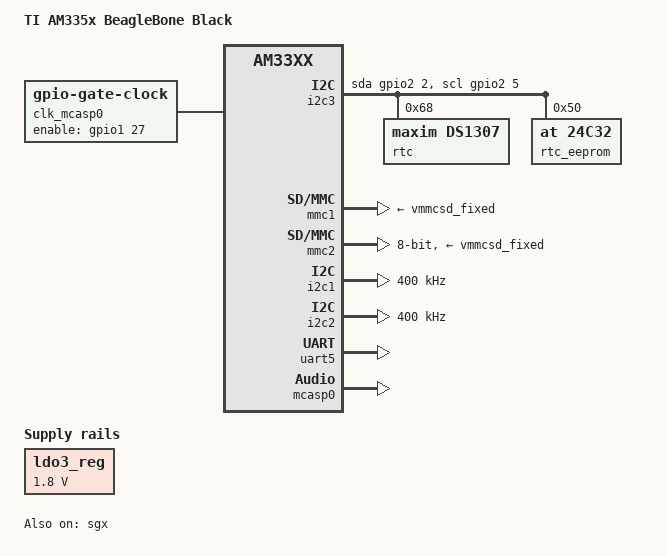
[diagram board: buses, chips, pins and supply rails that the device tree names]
/*
 * Copyright (C) 2012 Texas Instruments Incorporated - http://www.ti.com/
 *
 * This program is free software; you can redistribute it and/or modify
 * it under the terms of the GNU General Public License version 2 as
 * published by the Free Software Foundation.
 */
/dts-v1/;

#include "am33xx.dtsi"
#include "am335x-bone-common-smarthouse.dtsi"
#include "am335x-bone-common-universal-pins.dtsi"
/* #include "am335x-bone-common-universal.dtsi" */

/* #include "am335x-bone-jtag.dtsi" */

/ {
	model = "TI AM335x BeagleBone Black";
	compatible = "ti,am335x-bone-black", "ti,am335x-bone", "ti,am33xx";

	exclusive-use =
                /* the pin header uses */
                "P9.20",        /* i2c2_sda */
                "P9.19",        /* i2c2_scl */
                /* the hardware ip uses */
                "i2c2";
};

&ldo3_reg {
	regulator-min-microvolt = <1800000>;
	regulator-max-microvolt = <1800000>;
	regulator-always-on;
};

&mmc1 {
	vmmc-supply = <&vmmcsd_fixed>;
};

&mmc2 {
	vmmc-supply = <&vmmcsd_fixed>;
	pinctrl-names = "default";
	pinctrl-0 = <&emmc_pins>;
	bus-width = <8>;
	status = "okay";
};

&cpu0_opp_table {
	/*
	 * All PG 2.0 silicon may not support 1GHz but some of the early
	 * BeagleBone Blacks have PG 2.0 silicon which is guaranteed
	 * to support 1GHz OPP so enable it for PG 2.0 on this board.
	 */
	oppnitro@1000000000 {
		opp-supported-hw = <0x06 0x0100>;
	};
};

&am33xx_pinmux {
	mcasp0_pins: mcasp0_pins {
		pinctrl-single,pins = <
			AM33XX_IOPAD(0x9ac, PIN_INPUT_PULLUP | MUX_MODE0) /* mcasp0_ahcklx.mcasp0_ahclkx */
			AM33XX_IOPAD(0x99c, PIN_OUTPUT_PULLDOWN | MUX_MODE2) /* mcasp0_ahclkr.mcasp0_axr2*/
			AM33XX_IOPAD(0x994, PIN_OUTPUT_PULLUP | MUX_MODE0) /* mcasp0_fsx.mcasp0_fsx */
			AM33XX_IOPAD(0x990, PIN_OUTPUT_PULLDOWN | MUX_MODE0) /* mcasp0_aclkx.mcasp0_aclkx */
			AM33XX_IOPAD(0x86c, PIN_OUTPUT_PULLDOWN | MUX_MODE7) /* gpmc_a11.GPIO1_27 */
		>;
	};
};

&i2c1 {
    /* i2c1 is numbered correctly */
    status = "okay";
    clock-frequency = <400000>;
    pinctrl-names = "default";
    pinctrl-0 = <&i2c1_pins>;
};

&i2c2 {
    /* i2c1 is numbered correctly */
    status = "okay";
    clock-frequency = <400000>;
    pinctrl-names = "default";
    pinctrl-0 = <&i2c2_pins>;
};

/ {
        i2c3 {
                compatible = "i2c-gpio";
                gpios = <&gpio2 2 GPIO_ACTIVE_HIGH /* sda */
                         &gpio2 5 GPIO_ACTIVE_HIGH /* scl */
                >;
                i2c-gpio,delay-us = <2>;        /* ~100 kHz */
                #address-cells = <1>;
                #size-cells = <0>;
                pinctrl-names = "default";
                pinctrl-0 = <&i2c3_pins>;
                status = "okay";

                rtc@68 {
                        compatible = "maxim,ds1307";
                        reg = <0x68>;
                };

                rtc_eeprom: rtc_eeprom@50 {
                        compatible = "at,24c32";
                        reg = <0x50>;
                };
        };

    aliases {
		eeprom0 = &cape_eeprom0;
		eeprom1 = &cape_eeprom1;
		eeprom2 = &cape_eeprom2;
		eeprom3 = &cape_eeprom3;
		eeprom4 = &cape_eeprom4;
		eeprom5 = &cape_eeprom5;
		eeprom6 = &cape_eeprom6;
		eeprom7 = &cape_eeprom7;
		eeprom8 = &cape_eeprom8;
	};

};

#include "am335x-bone-pinmux-ttyS5.dtsi"
&uart5 {
    pinctrl-0 = <&uart5_pins>;
    status = "okay";
};

&mcasp0	{
	#sound-dai-cells = <0>;
	pinctrl-names = "default";
	pinctrl-0 = <&mcasp0_pins>;
	status = "okay";
	op-mode = <0>;	/* MCASP_IIS_MODE */
	tdm-slots = <2>;
	serial-dir = <	/* 0: INACTIVE, 1: TX, 2: RX */
			0 0 1 0
		>;
	tx-num-evt = <32>;
	rx-num-evt = <32>;
};

&sgx {
	status = "okay";
};

/ {
	clk_mcasp0_fixed: clk_mcasp0_fixed {
		#clock-cells = <0>;
		compatible = "fixed-clock";
		clock-frequency = <24576000>;
	};

	clk_mcasp0: clk_mcasp0 {
		#clock-cells = <0>;
		compatible = "gpio-gate-clock";
		clocks = <&clk_mcasp0_fixed>;
		enable-gpios = <&gpio1 27 0>; /* BeagleBone Black Clk enable on GPIO1_27 */
	};
};

&ocp {
    P8_19_pinmux {
        compatible = "bone-pinmux-helper";
        status = "okay";
        pinctrl-names = "default", "gpio", "gpio_pu", "gpio_pd", "pwm";
        pinctrl-0 = <&P8_19_default_pin>;
        pinctrl-1 = <&P8_19_gpio_pin>;
        pinctrl-2 = <&P8_19_gpio_pu_pin>;
        pinctrl-3 = <&P8_19_gpio_pd_pin>;
        pinctrl-4 = <&P8_19_pwm_pin>;
    };

    P8_26_pinmux {
        compatible = "bone-pinmux-helper";
        status = "okay";
        pinctrl-names = "default", "gpio";
        pinctrl-0 = <&P8_26_default_pin>;
        pinctrl-1 = <&P8_26_gpio_pin>;
        pinctrl-2 = <&P8_26_gpio_pu_pin>;
        pinctrl-3 = <&P8_26_gpio_pd_pin>;
    };

    P8_27_pinmux {
        compatible = "bone-pinmux-helper";
        status = "okay";
        pinctrl-names = "default", "gpio", "gpio_pu", "gpio_pd", "pruout", "pruin", "hdmi";
        pinctrl-0 = <&P8_27_default_pin>;
        pinctrl-1 = <&P8_27_gpio_pin>;
        pinctrl-2 = <&P8_27_gpio_pu_pin>;
        pinctrl-3 = <&P8_27_gpio_pd_pin>;
        pinctrl-4 = <&P8_27_pruout_pin>;
        pinctrl-5 = <&P8_27_pruin_pin>;
        pinctrl-6 = <&P8_27_hdmi_pin>;
    };

    P8_28_pinmux {
        compatible = "bone-pinmux-helper";
        status = "okay";
        pinctrl-names = "default", "gpio", "gpio_pu", "gpio_pd", "pruout", "pruin", "hdmi";
        pinctrl-0 = <&P8_28_default_pin>;
        pinctrl-1 = <&P8_28_gpio_pin>;
        pinctrl-2 = <&P8_28_gpio_pu_pin>;
        pinctrl-3 = <&P8_28_gpio_pd_pin>;
        pinctrl-4 = <&P8_28_pruout_pin>;
        pinctrl-5 = <&P8_28_pruin_pin>;
        pinctrl-6 = <&P8_28_hdmi_pin>;
    };

    P8_29_pinmux {
        compatible = "bone-pinmux-helper";
        status = "okay";
        pinctrl-names = "default", "gpio", "gpio_pu", "gpio_pd", "pruout", "pruin", "hdmi";
        pinctrl-0 = <&P8_29_default_pin>;
        pinctrl-1 = <&P8_29_gpio_pin>;
        pinctrl-2 = <&P8_29_gpio_pu_pin>;
        pinctrl-3 = <&P8_29_gpio_pd_pin>;
        pinctrl-4 = <&P8_29_pruout_pin>;
        pinctrl-5 = <&P8_29_pruin_pin>;
        pinctrl-6 = <&P8_29_hdmi_pin>;
    };

    P8_30_pinmux {
        compatible = "bone-pinmux-helper";
        status = "okay";
        pinctrl-names = "default", "gpio", "gpio_pu", "gpio_pd", "pruout", "pruin", "hdmi";
        pinctrl-0 = <&P8_30_default_pin>;
        pinctrl-1 = <&P8_30_gpio_pin>;
        pinctrl-2 = <&P8_30_gpio_pu_pin>;
        pinctrl-3 = <&P8_30_gpio_pd_pin>;
        pinctrl-4 = <&P8_30_pruout_pin>;
        pinctrl-5 = <&P8_30_pruin_pin>;
        pinctrl-6 = <&P8_30_hdmi_pin>;
    };

    P8_31_pinmux {
        compatible = "bone-pinmux-helper";
        status = "okay";
        pinctrl-names = "default", "gpio", "gpio_pu", "gpio_pd","uart", "hdmi";
        pinctrl-0 = <&P8_31_default_pin>;
        pinctrl-1 = <&P8_31_gpio_pin>;
        pinctrl-2 = <&P8_31_gpio_pu_pin>;
        pinctrl-3 = <&P8_31_gpio_pd_pin>;
        pinctrl-4 = <&P8_31_uart_pin>;
        pinctrl-5 = <&P8_31_hdmi_pin>;
    };

    P8_32_pinmux {
        compatible = "bone-pinmux-helper";
        status = "okay";
        pinctrl-names = "default", "gpio", "gpio_pu", "gpio_pd", "hdmi";
        pinctrl-0 = <&P8_32_default_pin>;
        pinctrl-1 = <&P8_32_gpio_pin>;
        pinctrl-2 = <&P8_32_gpio_pu_pin>;
        pinctrl-3 = <&P8_32_gpio_pd_pin>;
        pinctrl-4 = <&P8_32_hdmi_pin>;
    };

    P8_34_pinmux {
        compatible = "bone-pinmux-helper";
        status = "okay";
        pinctrl-names = "default", "gpio", "gpio_pu", "gpio_pd","pwm", "hdmi";
        pinctrl-0 = <&P8_34_default_pin>;
        pinctrl-1 = <&P8_34_gpio_pin>;
        pinctrl-2 = <&P8_34_gpio_pu_pin>;
        pinctrl-3 = <&P8_34_gpio_pd_pin>;
        pinctrl-4 = <&P8_34_pwm_pin>;
        pinctrl-5 = <&P8_34_hdmi_pin>;
    };

    P8_36_pinmux {
        compatible = "bone-pinmux-helper";
        status = "okay";
        pinctrl-names = "default", "gpio", "gpio_pu", "gpio_pd","pwm", "hdmi";
        pinctrl-0 = <&P8_36_default_pin>;
        pinctrl-1 = <&P8_36_gpio_pin>;
        pinctrl-2 = <&P8_36_gpio_pu_pin>;
        pinctrl-3 = <&P8_36_gpio_pd_pin>;
        pinctrl-4 = <&P8_36_pwm_pin>;
        pinctrl-5 = <&P8_36_hdmi_pin>;
    };

    P8_39_pinmux {
        compatible = "bone-pinmux-helper";
        status = "okay";
        pinctrl-names = "default", "gpio", "gpio_pu", "gpio_pd", "pruout", "pruin", "hdmi";
        pinctrl-0 = <&P8_39_default_pin>;
        pinctrl-1 = <&P8_39_gpio_pin>;
        pinctrl-2 = <&P8_39_gpio_pu_pin>;
        pinctrl-3 = <&P8_39_gpio_pd_pin>;
        pinctrl-4 = <&P8_39_pruout_pin>;
        pinctrl-5 = <&P8_39_pruin_pin>;
        pinctrl-6 = <&P8_39_hdmi_pin>;
    };

    P8_40_pinmux {
        compatible = "bone-pinmux-helper";
        status = "okay";
        pinctrl-names = "default", "gpio", "gpio_pu", "gpio_pd", "pruout", "pruin", "hdmi";
        pinctrl-0 = <&P8_40_default_pin>;
        pinctrl-1 = <&P8_40_gpio_pin>;
        pinctrl-2 = <&P8_40_gpio_pu_pin>;
        pinctrl-3 = <&P8_40_gpio_pd_pin>;
        pinctrl-4 = <&P8_40_pruout_pin>;
        pinctrl-5 = <&P8_40_pruin_pin>;
        pinctrl-6 = <&P8_40_hdmi_pin>;
    };

    P8_41_pinmux {
        compatible = "bone-pinmux-helper";
        status = "okay";
        pinctrl-names = "default", "gpio", "gpio_pu", "gpio_pd", "pruout", "pruin", "hdmi";
        pinctrl-0 = <&P8_41_default_pin>;
        pinctrl-1 = <&P8_41_gpio_pin>;
        pinctrl-2 = <&P8_41_gpio_pu_pin>;
        pinctrl-3 = <&P8_41_gpio_pd_pin>;
        pinctrl-4 = <&P8_41_pruout_pin>;
        pinctrl-5 = <&P8_41_pruin_pin>;
        pinctrl-6 = <&P8_41_hdmi_pin>;
    };

    P8_42_pinmux {
        compatible = "bone-pinmux-helper";
        status = "okay";
        pinctrl-names = "default", "gpio", "gpio_pu", "gpio_pd", "pruout", "pruin", "hdmi";
        pinctrl-0 = <&P8_42_default_pin>;
        pinctrl-1 = <&P8_42_gpio_pin>;
        pinctrl-2 = <&P8_42_gpio_pu_pin>;
        pinctrl-3 = <&P8_42_gpio_pd_pin>;
        pinctrl-4 = <&P8_42_pruout_pin>;
        pinctrl-5 = <&P8_42_pruin_pin>;
        pinctrl-6 = <&P8_42_hdmi_pin>;
    };

    P8_43_pinmux {
        compatible = "bone-pinmux-helper";
        status = "okay";
        pinctrl-names = "default", "gpio", "gpio_pu", "gpio_pd", "pruout", "pruin","pwm", "hdmi";
        pinctrl-0 = <&P8_43_default_pin>;
        pinctrl-1 = <&P8_43_gpio_pin>;
        pinctrl-2 = <&P8_43_gpio_pu_pin>;
        pinctrl-3 = <&P8_43_gpio_pd_pin>;
        pinctrl-4 = <&P8_43_pruout_pin>;
        pinctrl-5 = <&P8_43_pruin_pin>;
        pinctrl-6 = <&P8_43_pwm_pin>;
        pinctrl-7 = <&P8_43_hdmi_pin>;
    };

    P8_44_pinmux {
        compatible = "bone-pinmux-helper";
        status = "okay";
        pinctrl-names = "default", "gpio", "gpio_pu", "gpio_pd", "pruout", "pruin","pwm", "hdmi";
        pinctrl-0 = <&P8_44_default_pin>;
        pinctrl-1 = <&P8_44_gpio_pin>;
        pinctrl-2 = <&P8_44_gpio_pu_pin>;
        pinctrl-3 = <&P8_44_gpio_pd_pin>;
        pinctrl-4 = <&P8_44_pruout_pin>;
        pinctrl-5 = <&P8_44_pruin_pin>;
        pinctrl-6 = <&P8_44_pwm_pin>;
        pinctrl-7 = <&P8_44_hdmi_pin>;
    };


};
